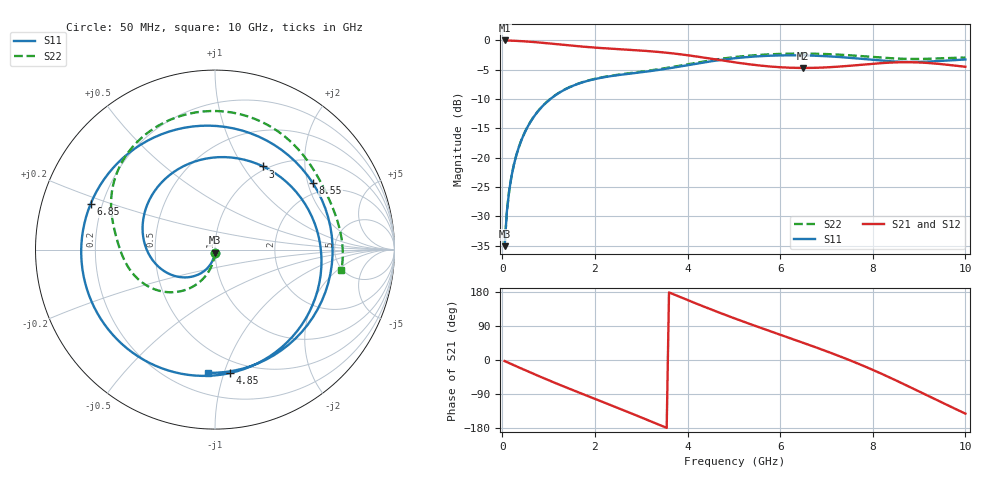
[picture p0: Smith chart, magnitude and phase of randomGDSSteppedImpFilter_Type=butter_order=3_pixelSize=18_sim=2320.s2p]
! freq	dB(S11)	phase(S11)	dB(S12)	phase(S12)
!  dB(S21)	phase(S21)	dB(S22)	phase(S22)
!S-par simulation data
#  GHz  S  DB  R 50
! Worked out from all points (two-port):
!   200 points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, 50 MHz to 10 GHz, reference 50 ohm
!   highest |S21| = 0.00 dB at 50 MHz (marker M1); lowest = -4.7 dB at 6.5 GHz (marker M2)
!   |S21| within 3 dB of the highest: start of sweep to 4.42 GHz
!   lowest |S11| = -35.1 dB at 50 MHz (marker M3), VSWR 1.04, Z = 49.9 - j1.76 ohm
!   |S11| at or under -10 dB: start of sweep to 1.035 GHz
!   |S22| runs from -35.1 to -2.2 dB; largest |S21 - S12| = 0
!   S11 on the Smith chart (normalised r, x): 50 MHz: 1.00, -0.04; 3 GHz: 0.95, +1.24; 4.85 GHz: 0.40, -1.05; 6.85 GHz: 0.16, +0.17; 8.55 GHz: 1.65, +2.15; 10 GHz: 0.34, -0.88
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0.05  -35.06 -93.4  -0.00 -2.8  -0.00 -2.8  -35.06 -92.1
0.1  -29.06 -96.9  -0.01 -5.5  -0.01 -5.5  -29.05 -94.4
0.2  -23.09 -103.9  -0.04 -11.0  -0.04 -11.0  -23.08 -98.8
0.5  -15.44 -124.1  -0.16 -27.2  -0.16 -27.2  -15.42 -111.4
1.1  -9.60 -163.8  -0.58 -58.5  -0.58 -58.5  -9.58 -134.3
1.75  -7.10 153.0  -1.06 -90.5  -1.06 -90.5  -7.07 -155.2
2.45  -5.96 103.1  -1.46 -124.4  -1.46 -124.4  -5.90 -172.9
3  -5.42 59.9  -1.73 -151.5  -1.73 -151.5  -5.32 176.2
3.4  -5.00 26.9  -1.98 -171.6  -1.98 -171.6  -4.87 169.0
4.05  -4.15 -25.7  -2.57 155.8  -2.57 155.8  -4.00 156.6
4.85  -3.19 -83.0  -3.53 117.4  -3.53 117.4  -2.99 137.8
5.05  -3.01 -95.8  -3.76 108.3  -3.76 108.3  -2.81 132.5
5.85  -2.59 -143.1  -4.49 73.2  -4.49 73.2  -2.34 110.5
6.5  -2.55 -179.7  -4.69 45.3  -4.69 45.3  -2.24 91.8
6.7  -2.59 168.8  -4.68 36.5  -4.68 36.5  -2.26 85.9
6.85  -2.63 159.9  -4.64 29.9  -4.64 29.9  -2.29 81.5
7.7  -3.10 104.2  -4.19 -10.4  -4.19 -10.4  -2.64 56.8
8.35  -3.53 51.9  -3.79 -45.3  -3.79 -45.3  -3.02 39.0
8.55  -3.62 34.1  -3.73 -56.7  -3.73 -56.7  -3.10 33.7
9.2  -3.61 -25.7  -3.85 -94.9  -3.85 -94.9  -3.13 16.5
9.6  -3.43 -61.0  -4.14 -118.4  -4.14 -118.4  -3.00 4.4
10  -3.25 -93.5  -4.49 -141.5  -4.49 -141.5  -2.94 -9.3
